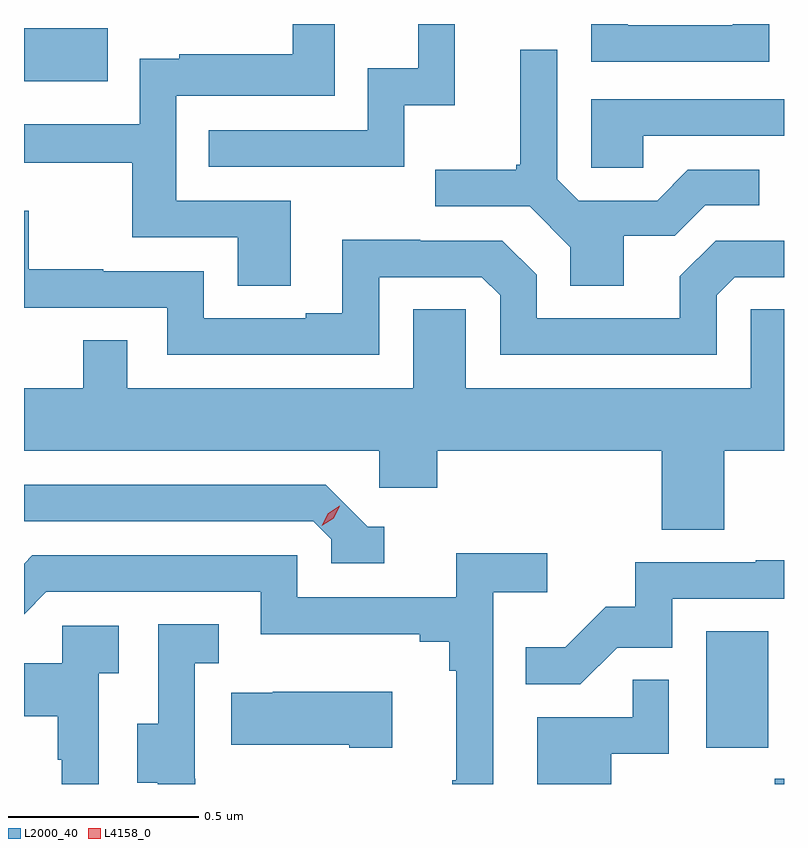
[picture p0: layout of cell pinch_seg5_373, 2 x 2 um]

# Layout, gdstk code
import gdstk
lib = gdstk.Library(unit=1e-6, precision=1e-09)
def R(c, l, rs):  # rectangles x0, y0, x1, y1
    for r in rs: c.add(gdstk.rectangle(r[:2], r[2:], *l))
def P(c, l, *ps):  # polygons
    for p in ps: c.add(gdstk.Polygon(p, *l))
L2000_40 = (2000, 40)
L4158_0 = (4158, 0)

pinch_seg5_373 = lib.new_cell('pinch_seg5_373')
R(pinch_seg5_373, L2000_40, [(1014.249,881.191,1014.273,881.205), (1014.068,881.286,1014.232,881.593)])
P(pinch_seg5_373, L2000_40, [(1012.975,882.726),(1012.674,882.726),(1012.674,883.002),(1013.091,883.002),(1013.091,883.191),(1012.98,883.191),(1012.98,883.111),(1012.681,883.111),(1012.681,883.099),(1012.578,883.099),(1012.578,882.927),(1012.273,882.927),(1012.273,882.826),(1012.558,882.826),(1012.558,882.63),(1012.835,882.63),(1012.835,882.502),(1012.975,882.502)],
  [(1014.234,883.191),(1014.138,883.191),(1014.138,883.188),(1013.862,883.188),(1013.862,883.191),(1013.766,883.191),(1013.766,883.092),(1014.234,883.092)],
  [(1013.274,882.977),(1013.407,882.977),(1013.407,883.191),(1013.31,883.191),(1013.31,883.075),(1013.178,883.075),(1013.178,882.912),(1012.759,882.912),(1012.759,882.816),(1013.274,882.816)],
  [(1012.493,883.18),(1012.273,883.18),(1012.273,883.041),(1012.279,883.041),(1012.279,883.04),(1012.493,883.04)],
  [(1013.851,882.634),(1013.986,882.634),(1014.066,882.714),(1014.208,882.714),(1014.208,882.807),(1014.02,882.807),(1013.939,882.726),(1013.733,882.726),(1013.676,882.783),(1013.676,883.123),(1013.579,883.123),(1013.579,882.82),(1013.568,882.82),(1013.568,882.808),(1013.355,882.808),(1013.355,882.711),(1013.604,882.711),(1013.711,882.604),(1013.711,882.502),(1013.851,882.502)],
  [(1013.903,882.897),(1014.273,882.897),(1014.273,882.993),(1013.766,882.993),(1013.766,882.813),(1013.903,882.813)],
  [(1013.208,882.525),(1013.478,882.525),(1013.526,882.477),(1013.526,882.321),(1014.096,882.321),(1014.096,882.477),(1014.144,882.525),(1014.273,882.525),(1014.273,882.621),(1014.093,882.621),(1013.999,882.527),(1013.999,882.417),(1013.622,882.417),(1013.622,882.531),(1013.532,882.621),(1013.316,882.621),(1013.316,882.623),(1013.111,882.623),(1013.111,882.43),(1013.015,882.43),(1013.015,882.417),(1012.746,882.417),(1012.746,882.54),(1012.481,882.54),(1012.481,882.545),(1012.285,882.545),(1012.285,882.7),(1012.273,882.7),(1012.273,882.444),(1012.65,882.444),(1012.65,882.321),(1013.208,882.321)],
  [(1014.116,882.068),(1014.273,882.068),(1014.273,882.44),(1014.186,882.44),(1014.186,882.232),(1013.436,882.232),(1013.436,882.44),(1013.297,882.44),(1013.297,882.232),(1012.545,882.232),(1012.545,882.359),(1012.429,882.359),(1012.429,882.232),(1012.273,882.232),(1012.273,882.068),(1013.208,882.068),(1013.208,881.97),(1013.36,881.97),(1013.36,882.068),(1013.951,882.068),(1013.951,881.86),(1014.116,881.86)],
  [(1013.221,881.868),(1013.178,881.868),(1013.067,881.979),(1012.273,881.979),(1012.273,881.883),(1013.034,881.883),(1013.082,881.835),(1013.082,881.772),(1013.221,881.772)],
  [(1013.508,881.696),(1013.65,881.696),(1013.65,881.798),(1013.411,881.798),(1013.411,881.682),(1012.992,881.682),(1012.992,881.793),(1012.295,881.793),(1012.273,881.771),(1012.273,881.638),(1012.332,881.697),(1012.896,881.697),(1012.896,881.585),(1013.315,881.585),(1013.315,881.566),(1013.392,881.566),(1013.392,881.489),(1013.411,881.489),(1013.411,881.201),(1013.4,881.201),(1013.4,881.191),(1013.508,881.191)],
  [(1013.834,881.55),(1013.979,881.55),(1013.979,881.679),(1014.273,881.679),(1014.273,881.78),(1014.199,881.78),(1014.199,881.775),(1013.881,881.775),(1013.881,881.658),(1013.804,881.658),(1013.697,881.551),(1013.593,881.551),(1013.593,881.453),(1013.737,881.453)],
  [(1012.724,881.205),(1012.722,881.205),(1012.722,881.509),(1012.786,881.509),(1012.786,881.612),(1012.626,881.612),(1012.626,881.349),(1012.571,881.349),(1012.571,881.194),(1012.625,881.194),(1012.625,881.191),(1012.724,881.191)],
  [(1012.47,881.483),(1012.522,881.483),(1012.522,881.607),(1012.374,881.607),(1012.374,881.509),(1012.273,881.509),(1012.273,881.369),(1012.362,881.369),(1012.362,881.255),(1012.372,881.255),(1012.372,881.191),(1012.47,881.191)],
  [(1013.818,881.271),(1013.97,881.271),(1013.97,881.465),(1013.875,881.465),(1013.875,881.367),(1013.624,881.367),(1013.624,881.191),(1013.818,881.191)],
  [(1013.242,881.434),(1012.927,881.434),(1012.927,881.431),(1012.819,881.431),(1012.819,881.294),(1013.129,881.294),(1013.129,881.287),(1013.242,881.287)])
P(pinch_seg5_373, L4158_0, [(1013.056,881.87),(1013.056,881.871),(1013.073,881.903),(1013.104,881.923),(1013.104,881.923),(1013.104,881.922),(1013.088,881.89),(1013.057,881.87)])

lib.write_gds('pinch_seg5_373.gds')
